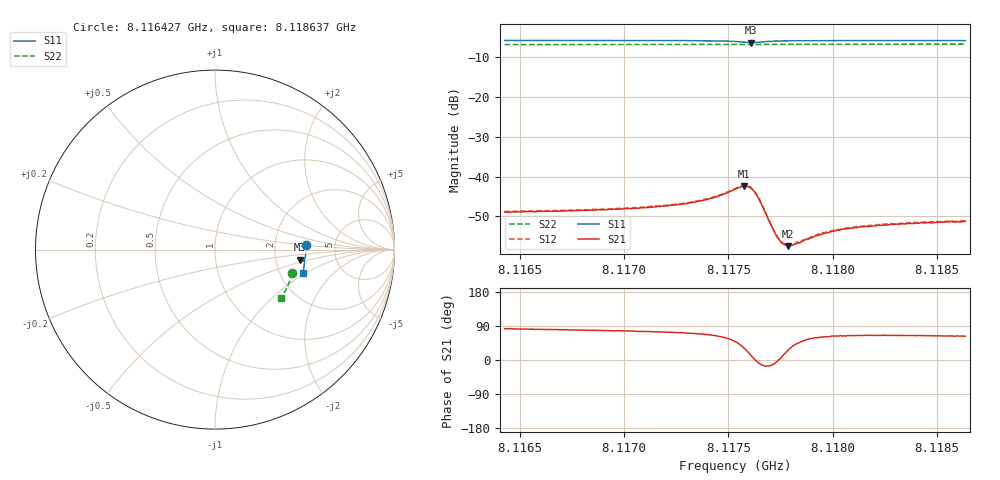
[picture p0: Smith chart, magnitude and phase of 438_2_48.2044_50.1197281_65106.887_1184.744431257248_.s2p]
#  HZ  S  RI  R  50.00
! Rohde & Schwarz Vector Network Analyzer
! Rohde-Schwarz,ZNB20-2Port,1311601062101988,3.16
! Created: UTC 3/20/2024, 11:55:43 AM
! freq[Hz]  re:S11  im:S11  re:S21  im:S21  re:S12  im:S12  re:S22  im:S22
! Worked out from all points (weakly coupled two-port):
!   401 points, 8.116427 GHz to 8.118637 GHz, reference 50 ohm
!   highest |S21| = -42.41 dB at 8.117576 GHz (marker M1); lowest = -57.5 dB at 8.117786 GHz (marker M2)
!   lowest |S11| = -6.4 dB at 8.117609 GHz (marker M3), VSWR 2.83, Z = 138 - j19.8 ohm
!   |S11| at or under -10 dB: nowhere
!   |S22| runs from -6.9 to -6.8 dB; largest |S21 - S12| = 0.00019
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8.1164267e9  0.5066 0.0269  0.00046 0.00355  0.000505 0.00363  0.4308 -0.1301
8.116797e9  0.5068 -0.00136  0.000712 0.00369  0.000802 0.00371  0.4235 -0.1548
8.1171672e9  0.5048 -0.0306  0.00117 0.00405  0.00121 0.00411  0.4148 -0.1792
8.1172888e9  0.5032 -0.041  0.00143 0.00431  0.00152 0.00441  0.4117 -0.1871
8.1173883e9  0.5008 -0.0506  0.00196 0.0047  0.00204 0.00478  0.4089 -0.1937
8.1174546e9  0.4976 -0.0576  0.00261 0.00507  0.00268 0.00516  0.4071 -0.1979
8.117532e9  0.4885 -0.0653  0.00458 0.00521  0.00465 0.0053  0.4043 -0.2029
8.1175762e9  0.4783 -0.0639  0.00647 0.00394  0.00662 0.00396  0.4027 -0.2053
8.1176093e9  0.4741 -0.0555  0.00695 0.00145  0.00711 0.0014  0.4018 -0.2069
8.1176259e9  0.4758 -0.0505  0.00637 0.000175  0.00649 0.00014  0.4013 -0.2077
8.117648e9  0.481 -0.0466  0.00506 -0.000806  0.00519 -0.000862  0.4009 -0.2088
8.1177143e9  0.4941 -0.0509  0.00214 -0.000437  0.00218 -0.000433  0.3997 -0.2133
8.1177364e9  0.4961 -0.054  0.00171 -6.92e-05  0.00176 -0.000113  0.3991 -0.2146
8.1177585e9  0.4974 -0.057  0.00145 0.000244  0.00144 0.000235  0.3984 -0.2162
8.1177862e9  0.4984 -0.0604  0.00122 0.000563  0.0013 0.000578  0.3975 -0.218
8.1178304e9  0.4991 -0.0655  0.00105 0.00101  0.00111 0.00104  0.3963 -0.2208
8.1179022e9  0.499 -0.0728  0.000944 0.00143  0.000988 0.00146  0.3939 -0.2254
8.1179575e9  0.4988 -0.0778  0.000951 0.0017  0.000972 0.00172  0.3921 -0.2289
8.1180459e9  0.4978 -0.0854  0.000995 0.00194  0.000985 0.00196  0.3892 -0.2345
8.1181177e9  0.4968 -0.0912  0.000983 0.00205  0.00105 0.00215  0.3868 -0.239
8.1182725e9  0.4946 -0.1034  0.00104 0.00226  0.00112 0.0023  0.3814 -0.2482
8.1186372e9  0.4879 -0.1306  0.00127 0.00246  0.00129 0.0025  0.3676 -0.2698
